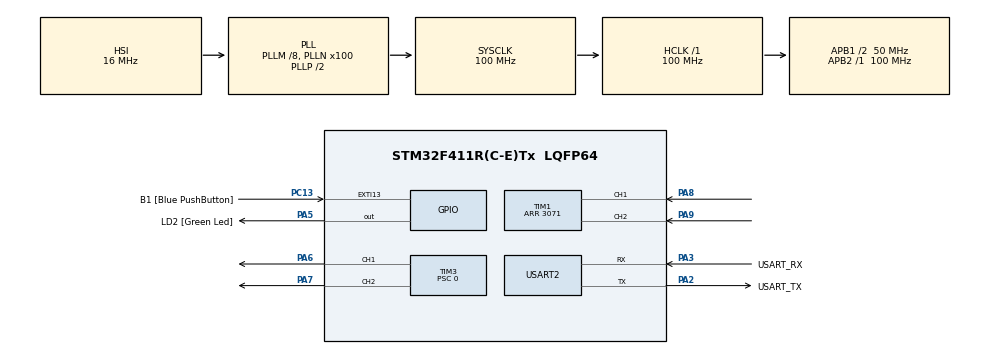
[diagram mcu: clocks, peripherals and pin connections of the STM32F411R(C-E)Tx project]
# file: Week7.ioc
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Mcu.Family=STM32F4
RCC.CortexFreq_Value=100000000
PA14.GPIO_Label=TCK
TIM1.EncoderMode=TIM_ENCODERMODE_TI12
RCC.SYSCLKSource=RCC_SYSCLKSOURCE_PLLCLK
ProjectManager.StackSize=0x400
PH0\ -\ OSC_IN.Signal=RCC_OSC_IN
RCC.HCLKFreq_Value=100000000
RCC.APB2TimFreq_Value=100000000
TIM3.Period=10000
RCC.AHBFreq_Value=100000000
TIM3.Channel-PWM\ Generation1\ CH1=TIM_CHANNEL_1
RCC.HSE_VALUE=8000000
PC13-ANTI_TAMP.Signal=GPXTI13
PC14-OSC32_IN.Mode=LSE-External-Oscillator
PA14.Mode=Serial_Wire
TIM3.Prescaler=0
NVIC.TIM2_IRQn=true\:0\:0\:false\:false\:true\:true\:true
PA8.Signal=S_TIM1_CH1
SH.S_TIM3_CH1.0=TIM3_CH1,PWM Generation1 CH1
RCC.FLatency-AdvancedSettings=FLASH_LATENCY_3
Mcu.Package=LQFP64
TIM2.Prescaler=99
PA6.Signal=S_TIM3_CH1
USART2.VirtualMode=VM_ASYNC
PA2.GPIO_Label=USART_TX
RCC.APB1TimFreq_Value=100000000
TIM1.Period=3071
VP_TIM3_VS_ClockSourceINT.Mode=Internal
PA3.Signal=USART2_RX
PB3.GPIO_Label=SWO
PC15-OSC32_OUT.Mode=LSE-External-Oscillator
PC13-ANTI_TAMP.GPIO_Label=B1 [Blue PushButton]
PH1\ -\ OSC_OUT.Mode=HSE-External-Clock-Source
RCC.APB1CLKDivider=RCC_HCLK_DIV2
PC14-OSC32_IN.Signal=RCC_OSC32_IN
PA13.Signal=SYS_JTMS-SWDIO
PA3.Mode=Asynchronous
PH0\ -\ OSC_IN.Mode=HSE-External-Clock-Source
SH.S_TIM1_CH1.0=TIM1_CH1,Encoder_Interface
ProjectManager.TargetToolchain=STM32CubeIDE
PA9.Signal=S_TIM1_CH2
PC15-OSC32_OUT.Signal=RCC_OSC32_OUT
PA5.Signal=GPIO_Output
SH.S_TIM3_CH2.0=TIM3_CH2,PWM Generation2 CH2
PH1\ -\ OSC_OUT.Signal=RCC_OSC_OUT
board=NUCLEO-F411RE
RCC.VCOOutputFreq_Value=200000000
NVIC.TIM3_IRQn=true\:0\:0\:false\:false\:true\:true\:true
RCC.APB2Freq_Value=100000000
SH.S_TIM1_CH2.0=TIM1_CH2,Encoder_Interface
VP_TIM2_VS_ClockSourceINT.Mode=Internal
TIM1.IC2Filter=2
PA13.Mode=Serial_Wire
Mcu.Name=STM32F411R(C-E)Tx
PA13.GPIO_Label=TMS
PA2.Signal=USART2_TX
RCC.48MHZClocksFreq_Value=50000000
PB3.Signal=SYS_JTDO-SWO
RCC.SYSCLKFreq_VALUE=100000000
PA5.GPIO_Label=LD2 [Green Led]
TIM1.IC1Filter=2
PC13-ANTI_TAMP.GPIO_ModeDefaultEXTI=GPIO_MODE_IT_FALLING
PA14.Signal=SYS_JTCK-SWCLK
ProjectManager.HeapSize=0x200
RCC.HSI_VALUE=16000000
NVIC.PriorityGroup=NVIC_PRIORITYGROUP_0
TIM3.Channel-PWM\ Generation2\ CH2=TIM_CHANNEL_2
RCC.PLLM=8
RCC.PLLN=100
PA2.Mode=Asynchronous
RCC.APB1Freq_Value=50000000
PA3.GPIO_Label=USART_RX
PA7.Signal=S_TIM3_CH2

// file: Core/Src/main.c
/* USER CODE BEGIN Header */
/**
 ******************************************************************************
 * @file           : main.c
 * @brief          : Main program body
 ******************************************************************************
 * @attention
 *
 * <h2><center>&copy; Copyright (c) 2021 STMicroelectronics.
 * All rights reserved.</center></h2>
 *
 * This software component is licensed by ST under BSD 3-Clause license,
 * the "License"; You may not use this file except in compliance with the
 * License. You may obtain a copy of the License at:
 *                        opensource.org/licenses/BSD-3-Clause
 *
 ******************************************************************************
 */
/* USER CODE END Header */
#include "main.h"

TIM_HandleTypeDef htim1;
TIM_HandleTypeDef htim2;
TIM_HandleTypeDef htim3;

UART_HandleTypeDef huart2;

/* USER CODE BEGIN PV */
uint64_t _micros = 0;
float EncoderVel = 0;
uint64_t Timestamp_Encoder = 0;
uint64_t Timestamp = 0;
uint32_t PWMOut_forward = 0;
uint32_t PWMOut_reverse = 0;
float Setrpm = 0;
float rpm = 0;
float Kp = 1;
float Ki = 0;
float Kd = 0;
float PID = 0;
float error = 0;
float error_pre = 0;
float total_error = 0;

/* USER CODE END PV */

void SystemClock_Config(void);
static void MX_GPIO_Init(void);
static void MX_USART2_UART_Init(void);
static void MX_TIM1_Init(void);
static void MX_TIM2_Init(void);
static void MX_TIM3_Init(void);
/* USER CODE BEGIN PFP */
uint64_t micros();
float EncoderVelocity_Update();

/* USER CODE END PFP */

int main(void)
{

  /* MCU Configuration--------------------------------------------------------*/

  /* Reset of all peripherals, Initializes the Flash interface and the Systick. */
  HAL_Init();

  /* Configure the system clock */
  SystemClock_Config();

  /* Initialize all configured peripherals */
  MX_GPIO_Init();
  MX_USART2_UART_Init();
  MX_TIM1_Init();
  MX_TIM2_Init();
  MX_TIM3_Init();
  /* USER CODE BEGIN 2 */

	// ***open interrupt****
	HAL_TIM_Base_Start_IT(&htim2);

	// ***open module QEI for read encoder***
	// TIM1->CNT : read counter of timer1 (encoder)
	HAL_TIM_Encoder_Start(&htim1, TIM_CHANNEL_ALL);
	HAL_TIM_Base_Start(&htim3);
	HAL_TIM_PWM_Start(&htim3, TIM_CHANNEL_1);
	HAL_TIM_PWM_Start(&htim3, TIM_CHANNEL_2);

  /* USER CODE END 2 */

  /* Infinite loop */
	while (1)
	{

    /* USER CODE BEGIN 3 */

		if (micros() - Timestamp >= 1000)
		{
			Timestamp = micros();
			rpm = (EncoderVel * 60) / (12 * 64 * 4);
			error = Setrpm - rpm;
			total_error += error;
			PID = (Kp * error) + (Ki * total_error) + (Kd * (error - error_pre));
			error_pre = error;

			__HAL_TIM_SET_COMPARE(&htim3, TIM_CHANNEL_1, PWMOut_forward);
			__HAL_TIM_SET_COMPARE(&htim3, TIM_CHANNEL_2, PWMOut_reverse);

			if (Setrpm < 0)
			{
				PWMOut_reverse -= PID;
				PWMOut_forward = 0;
			}

			else if (Setrpm > 0)
			{
				PWMOut_forward += PID;
				PWMOut_reverse = 0;
			}

			else if (Setrpm == 0)
			{
				PWMOut_forward = 0;
				PWMOut_reverse = 0;
			}
		}
		if (micros() - Timestamp_Encoder >= 100)
		{
			Timestamp_Encoder = micros();
			EncoderVel = (EncoderVel * 4099 + EncoderVelocity_Update()) / 4100;
		}
	}
  /* USER CODE END 3 */
}

void SystemClock_Config(void)
{
  RCC_OscInitTypeDef RCC_OscInitStruct = {0};
  RCC_ClkInitTypeDef RCC_ClkInitStruct = {0};

  /** Configure the main internal regulator output voltage
  */
  __HAL_RCC_PWR_CLK_ENABLE();
  __HAL_PWR_VOLTAGESCALING_CONFIG(PWR_REGULATOR_VOLTAGE_SCALE1);
  /** Initializes the RCC Oscillators according to the specified parameters
  * in the RCC_OscInitTypeDef structure.
  */
  RCC_OscInitStruct.OscillatorType = RCC_OSCILLATORTYPE_HSI;
  RCC_OscInitStruct.HSIState = RCC_HSI_ON;
  RCC_OscInitStruct.HSICalibrationValue = RCC_HSICALIBRATION_DEFAULT;
  RCC_OscInitStruct.PLL.PLLState = RCC_PLL_ON;
  RCC_OscInitStruct.PLL.PLLSource = RCC_PLLSOURCE_HSI;
  RCC_OscInitStruct.PLL.PLLM = 8;
  RCC_OscInitStruct.PLL.PLLN = 100;
  RCC_OscInitStruct.PLL.PLLP = RCC_PLLP_DIV2;
  RCC_OscInitStruct.PLL.PLLQ = 4;
  if (HAL_RCC_OscConfig(&RCC_OscInitStruct) != HAL_OK)
  {
    Error_Handler();
  }
  /** Initializes the CPU, AHB and APB buses clocks
  */
  RCC_ClkInitStruct.ClockType = RCC_CLOCKTYPE_HCLK|RCC_CLOCKTYPE_SYSCLK
                              |RCC_CLOCKTYPE_PCLK1|RCC_CLOCKTYPE_PCLK2;
  RCC_ClkInitStruct.SYSCLKSource = RCC_SYSCLKSOURCE_PLLCLK;
  RCC_ClkInitStruct.AHBCLKDivider = RCC_SYSCLK_DIV1;
  RCC_ClkInitStruct.APB1CLKDivider = RCC_HCLK_DIV2;
  RCC_ClkInitStruct.APB2CLKDivider = RCC_HCLK_DIV1;

  if (HAL_RCC_ClockConfig(&RCC_ClkInitStruct, FLASH_LATENCY_3) != HAL_OK)
  {
    Error_Handler();
  }
}

static void MX_TIM1_Init(void)
{

  TIM_Encoder_InitTypeDef sConfig = {0};
  TIM_MasterConfigTypeDef sMasterConfig = {0};

  htim1.Instance = TIM1;
  htim1.Init.Prescaler = 0;
  htim1.Init.CounterMode = TIM_COUNTERMODE_UP;
  htim1.Init.Period = 3071;
  htim1.Init.ClockDivision = TIM_CLOCKDIVISION_DIV1;
  htim1.Init.RepetitionCounter = 0;
  htim1.Init.AutoReloadPreload = TIM_AUTORELOAD_PRELOAD_DISABLE;
  sConfig.EncoderMode = TIM_ENCODERMODE_TI12;
  sConfig.IC1Polarity = TIM_ICPOLARITY_RISING;
  sConfig.IC1Selection = TIM_ICSELECTION_DIRECTTI;
  sConfig.IC1Prescaler = TIM_ICPSC_DIV1;
  sConfig.IC1Filter = 2;
  sConfig.IC2Polarity = TIM_ICPOLARITY_RISING;
  sConfig.IC2Selection = TIM_ICSELECTION_DIRECTTI;
  sConfig.IC2Prescaler = TIM_ICPSC_DIV1;
  sConfig.IC2Filter = 2;
  if (HAL_TIM_Encoder_Init(&htim1, &sConfig) != HAL_OK)
  {
    Error_Handler();
  }
  sMasterConfig.MasterOutputTrigger = TIM_TRGO_RESET;
  sMasterConfig.MasterSlaveMode = TIM_MASTERSLAVEMODE_DISABLE;
  if (HAL_TIMEx_MasterConfigSynchronization(&htim1, &sMasterConfig) != HAL_OK)
  {
    Error_Handler();
  }

}

static void MX_TIM2_Init(void)
{

  TIM_ClockConfigTypeDef sClockSourceConfig = {0};
  TIM_MasterConfigTypeDef sMasterConfig = {0};

  htim2.Instance = TIM2;
  htim2.Init.Prescaler = 99;
  htim2.Init.CounterMode = TIM_COUNTERMODE_UP;
  htim2.Init.Period = 4294967295;
  htim2.Init.ClockDivision = TIM_CLOCKDIVISION_DIV1;
  htim2.Init.AutoReloadPreload = TIM_AUTORELOAD_PRELOAD_DISABLE;
  if (HAL_TIM_Base_Init(&htim2) != HAL_OK)
  {
    Error_Handler();
  }
  sClockSourceConfig.ClockSource = TIM_CLOCKSOURCE_INTERNAL;
  if (HAL_TIM_ConfigClockSource(&htim2, &sClockSourceConfig) != HAL_OK)
  {
    Error_Handler();
  }
  sMasterConfig.MasterOutputTrigger = TIM_TRGO_RESET;
  sMasterConfig.MasterSlaveMode = TIM_MASTERSLAVEMODE_DISABLE;
  if (HAL_TIMEx_MasterConfigSynchronization(&htim2, &sMasterConfig) != HAL_OK)
  {
    Error_Handler();
  }

}

static void MX_TIM3_Init(void)
{

  TIM_ClockConfigTypeDef sClockSourceConfig = {0};
  TIM_MasterConfigTypeDef sMasterConfig = {0};
  TIM_OC_InitTypeDef sConfigOC = {0};

  htim3.Instance = TIM3;
  htim3.Init.Prescaler = 0;
  htim3.Init.CounterMode = TIM_COUNTERMODE_UP;
  htim3.Init.Period = 10000;
  htim3.Init.ClockDivision = TIM_CLOCKDIVISION_DIV1;
  htim3.Init.AutoReloadPreload = TIM_AUTORELOAD_PRELOAD_DISABLE;
  if (HAL_TIM_Base_Init(&htim3) != HAL_OK)
  {
    Error_Handler();
  }
  sClockSourceConfig.ClockSource = TIM_CLOCKSOURCE_INTERNAL;
  if (HAL_TIM_ConfigClockSource(&htim3, &sClockSourceConfig) != HAL_OK)
  {
    Error_Handler();
  }
  if (HAL_TIM_PWM_Init(&htim3) != HAL_OK)
  {
    Error_Handler();
  }
  sMasterConfig.MasterOutputTrigger = TIM_TRGO_RESET;
  sMasterConfig.MasterSlaveMode = TIM_MASTERSLAVEMODE_DISABLE;
  if (HAL_TIMEx_MasterConfigSynchronization(&htim3, &sMasterConfig) != HAL_OK)
  {
    Error_Handler();
  }
  sConfigOC.OCMode = TIM_OCMODE_PWM1;
  sConfigOC.Pulse = 0;
  sConfigOC.OCPolarity = TIM_OCPOLARITY_HIGH;
  sConfigOC.OCFastMode = TIM_OCFAST_DISABLE;
  if (HAL_TIM_PWM_ConfigChannel(&htim3, &sConfigOC, TIM_CHANNEL_1) != HAL_OK)
  {
    Error_Handler();
  }
  if (HAL_TIM_PWM_ConfigChannel(&htim3, &sConfigOC, TIM_CHANNEL_2) != HAL_OK)
  {
    Error_Handler();
  }
  HAL_TIM_MspPostInit(&htim3);

}

static void MX_USART2_UART_Init(void)
{

  huart2.Instance = USART2;
  huart2.Init.BaudRate = 115200;
  huart2.Init.WordLength = UART_WORDLENGTH_8B;
  huart2.Init.StopBits = UART_STOPBITS_1;
  huart2.Init.Parity = UART_PARITY_NONE;
  huart2.Init.Mode = UART_MODE_TX_RX;
  huart2.Init.HwFlowCtl = UART_HWCONTROL_NONE;
  huart2.Init.OverSampling = UART_OVERSAMPLING_16;
  if (HAL_UART_Init(&huart2) != HAL_OK)
  {
    Error_Handler();
  }

}

static void MX_GPIO_Init(void)
{
  GPIO_InitTypeDef GPIO_InitStruct = {0};

  /* GPIO Ports Clock Enable */
  __HAL_RCC_GPIOC_CLK_ENABLE();
  __HAL_RCC_GPIOH_CLK_ENABLE();
  __HAL_RCC_GPIOA_CLK_ENABLE();
  __HAL_RCC_GPIOB_CLK_ENABLE();

  /*Configure GPIO pin Output Level */
  HAL_GPIO_WritePin(LD2_GPIO_Port, LD2_Pin, GPIO_PIN_RESET);

  /*Configure GPIO pin : B1_Pin */
  GPIO_InitStruct.Pin = B1_Pin;
  GPIO_InitStruct.Mode = GPIO_MODE_IT_FALLING;
  GPIO_InitStruct.Pull = GPIO_NOPULL;
  HAL_GPIO_Init(B1_GPIO_Port, &GPIO_InitStruct);

  /*Configure GPIO pin : LD2_Pin */
  GPIO_InitStruct.Pin = LD2_Pin;
  GPIO_InitStruct.Mode = GPIO_MODE_OUTPUT_PP;
  GPIO_InitStruct.Pull = GPIO_NOPULL;
  GPIO_InitStruct.Speed = GPIO_SPEED_FREQ_LOW;
  HAL_GPIO_Init(LD2_GPIO_Port, &GPIO_InitStruct);

}

/* USER CODE BEGIN 4 */
#define  HTIM_ENCODER htim1
#define  MAX_SUBPOSITION_OVERFLOW 1536
#define  MAX_ENCODER_PERIOD 3072

// Angular velocity (dp/dt)
float EncoderVelocity_Update()
{
	//Save Last state
	static uint32_t EncoderLastPosition = 0;
	static uint64_t EncoderLastTimestamp = 0;

	//read data
	uint32_t EncoderNowPosition = HTIM_ENCODER.Instance->CNT;
	uint64_t EncoderNowTimestamp = micros();

	int32_t EncoderPositionDiff;
	uint64_t EncoderTimeDiff;

	EncoderTimeDiff = EncoderNowTimestamp - EncoderLastTimestamp;
	EncoderPositionDiff = EncoderNowPosition - EncoderLastPosition;

	//compensate overflow and underflow
	if (EncoderPositionDiff >= MAX_SUBPOSITION_OVERFLOW)
	{
		EncoderPositionDiff -= MAX_ENCODER_PERIOD;
	}

	else if (-EncoderPositionDiff >= MAX_SUBPOSITION_OVERFLOW)
	{
		EncoderPositionDiff += MAX_ENCODER_PERIOD;
	}

	//Update Position and time
	EncoderLastPosition = EncoderNowPosition;
	EncoderLastTimestamp = EncoderNowTimestamp;

	//Calculate velocity
	//EncoderTimeDiff is in uS
	return (EncoderPositionDiff * 1000000) / (float) EncoderTimeDiff;
}

void HAL_TIM_PeriodElapsedCallback(TIM_HandleTypeDef *htim)
{
	if (htim == &htim2)
	{
		_micros += 4294967295;
	}
}
uint64_t micros()
{
	return _micros + htim2.Instance->CNT;
}
/* USER CODE END 4 */

void Error_Handler(void)
{
	__disable_irq();
	while (1) {
	}
}

/************************ (C) COPYRIGHT STMicroelectronics *****END OF FILE****/
